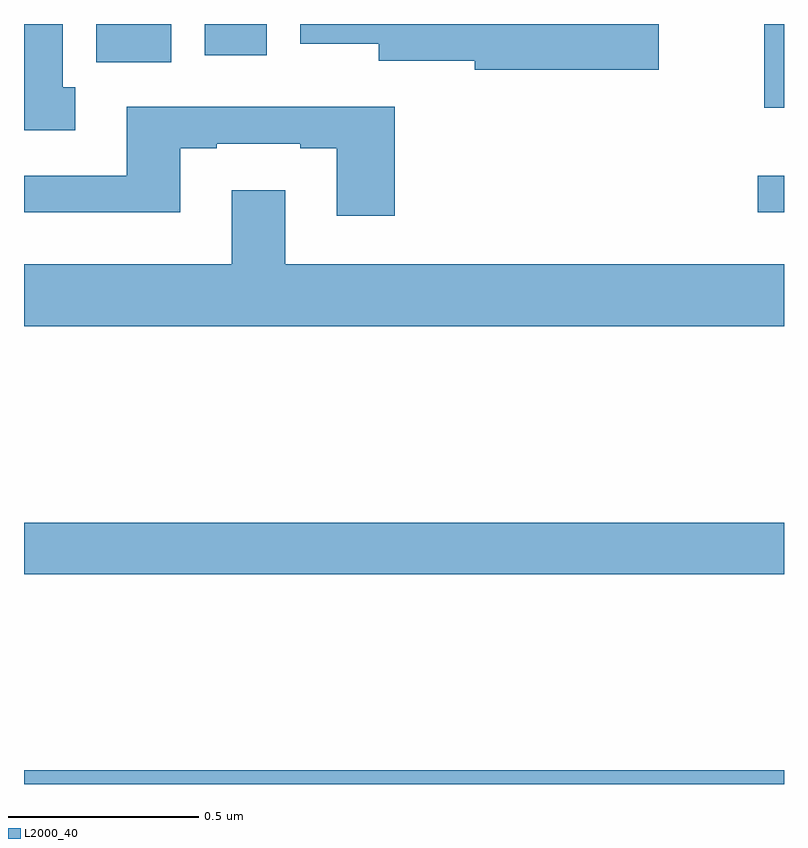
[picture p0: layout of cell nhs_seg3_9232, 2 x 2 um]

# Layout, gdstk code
import gdstk
lib = gdstk.Library(unit=1e-6, precision=1e-09)
def R(c, l, rs):  # rectangles x0, y0, x1, y1
    for r in rs: c.add(gdstk.rectangle(r[:2], r[2:], *l))
def P(c, l, *ps):  # polygons
    for p in ps: c.add(gdstk.Polygon(p, *l))
L2000_40 = (2000, 40)

nhs_seg3_9232 = lib.new_cell('nhs_seg3_9232')
R(nhs_seg3_9232, L2000_40, [(226,678.4,228,678.436), (226,678.952,228,679.088), (227.931,679.904,228,680.001), (227.948,680.18,228,680.4), (226.19,680.3,226.387,680.4), (226.475,680.318,226.639,680.4)])
P(nhs_seg3_9232, L2000_40, [(226.135,680.234),(226.102,680.234),(226.102,680.4),(226,680.4),(226,680.121),(226.135,680.121)],
  [(227.671,680.4),(226.727,680.4),(226.727,680.348),(226.934,680.348),(226.934,680.303),(227.186,680.303),(227.186,680.279),(227.671,680.279)],
  [(226.976,680.182),(226.271,680.182),(226.271,680.001),(226,680.001),(226,679.904),(226.411,679.904),(226.411,680.073),(226.507,680.073),(226.507,680.085),(226.727,680.085),(226.727,680.073),(226.823,680.073),(226.823,679.896),(226.976,679.896)],
  [(228,679.768),(226.687,679.768),(226.687,679.963),(226.547,679.963),(226.547,679.768),(226,679.768),(226,679.604),(228,679.604)])

lib.write_gds('nhs_seg3_9232.gds')
